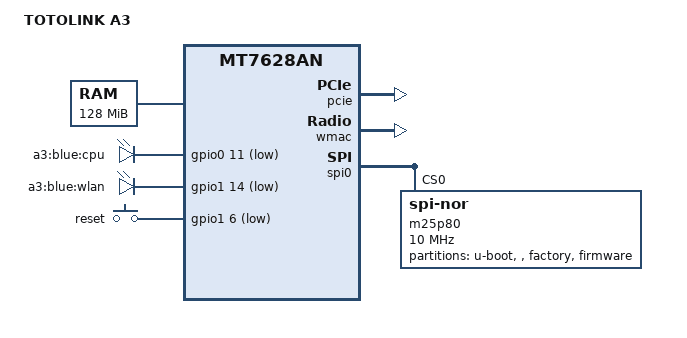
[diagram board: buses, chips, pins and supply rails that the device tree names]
/dts-v1/;

#include "mt7628an.dtsi"

#include <dt-bindings/gpio/gpio.h>
#include <dt-bindings/input/input.h>

/ {
	compatible = "totolink,a3", "mediatek,mt7628an-soc";
	model = "TOTOLINK A3";

	aliases {
		led-boot = &led_cpu;
		led-failsafe = &led_cpu;
		led-running = &led_cpu;
		led-upgrade = &led_cpu;
	};

	memory@0 {
		device_type = "memory";
		reg = <0x0 0x8000000>;
	};

	leds {
		compatible = "gpio-leds";

		led_cpu: cpu {
			label = "a3:blue:cpu";
			gpios = <&gpio0 11 GPIO_ACTIVE_LOW>;
		};

		wlan {
			label = "a3:blue:wlan";
			gpios = <&gpio1 14 GPIO_ACTIVE_LOW>;
			linux,default-trigger = "phy0tpt";
		};
	};

		keys {
		compatible = "gpio-keys-polled";
		poll-interval = <20>;

		reset {
			label = "reset";
			gpios = <&gpio1 6 GPIO_ACTIVE_LOW>;
			linux,code = <KEY_RESTART>;
		};
	};
};

&pinctrl {
	state_default: pinctrl0 {
		gpio {
			ralink,group = "refclk", "wled_an", "gpio", "wdt";
			ralink,function = "gpio";
		};
	};
};

&pcie {
	status = "okay";
};

&pcie0 {
	mt76@0,0 {
		reg = <0x0000 0 0 0 0>;
		mediatek,mtd-eeprom = <&factory 0x8000>;
		ieee80211-freq-limit = <5000000 6000000>;
	};
};

&wmac {
	status = "okay";
};

&ethernet {
	mtd-mac-address = <&factory 0x28>;
};

&spi0 {
	status = "okay";

	m25p80@0 {
		compatible = "jedec,spi-nor";
		reg = <0>;
		spi-max-frequency = <10000000>;

		partitions {
			compatible = "fixed-partitions";
			#address-cells = <1>;
			#size-cells = <1>;

			partition@0 {
				label = "u-boot";
				reg = <0x0 0x30000>;
				read-only;
			};

			partition@30000 {
				label = "";
				reg = <0x30000 0x10000>;
				read-only;
			};

			factory: partition@40000 {
				label = "factory";
				reg = <0x40000 0x10000>;
				read-only;
			};

			partition@50000 {
				compatible = "denx,uimage";
				label = "firmware";
				reg = <0x50000 0xfb0000>;
			};
		};
	};
};
